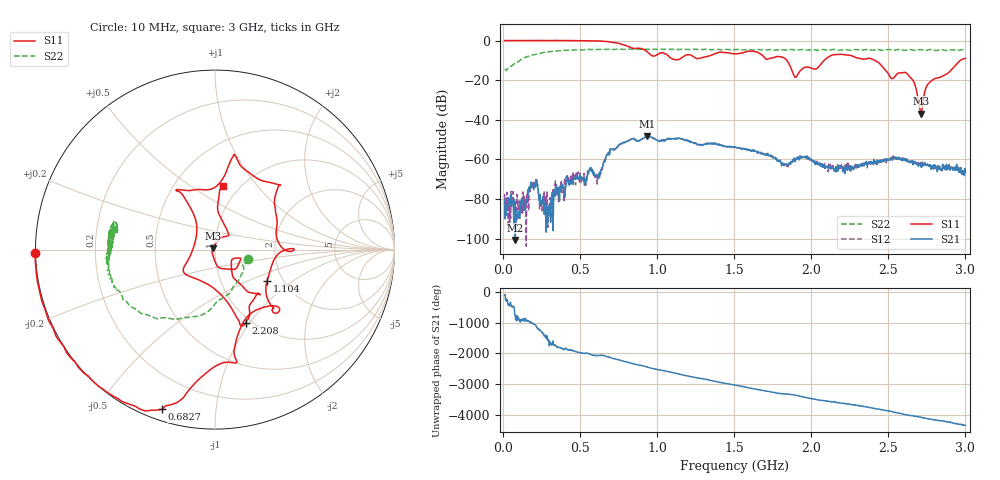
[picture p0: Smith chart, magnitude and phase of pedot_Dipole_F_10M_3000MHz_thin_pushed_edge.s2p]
!  08/05/2026  14:37:27
! Ref Plane: 0.000 mm
# MHZ S MA R  50
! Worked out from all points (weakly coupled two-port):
!   1001 points, 10 MHz to 3 GHz, reference 50 ohm
!   highest |S21| = -48.25 dB at 936.9 MHz (marker M1); lowest = -100.8 dB at 75.78 MHz (marker M2)
!   lowest |S11| = -36.8 dB at 2.713 GHz (marker M3), VSWR 1.03, Z = 48.7 + j0.625 ohm
!   |S11| at or under -10 dB: 1.842 GHz to 2.083 GHz (241.8 MHz wide, 12.3 % of centre); 2.411 GHz to 2.968 GHz (556.8 MHz wide, 20.7 % of centre)
!   |S22| runs from -15.1 to -4.3 dB; largest |S21 - S12| = 0.00029
!   S11 on the Smith chart (normalised r, x): 10 MHz: -0.00, -0.01; 682.8 MHz: 0.05, -0.72; 1.104 GHz: 1.66, -0.66; 2.208 GHz: 0.94, -0.96; 3 GHz: 0.84, +0.68
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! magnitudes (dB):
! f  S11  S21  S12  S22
! 10 MHz  0.0  -80.4  -77.4  -14.5
! 75.78 MHz  0.0  -100.8  -86.5  -11.6
! 204.3 MHz  0.0  -72.9  -73.2  -7.0
! 243.2 MHz  0.0  -81.5  -83.5  -6.4
! 303 MHz  0.0  -83.4  -88.5  -5.6
! 509.3 MHz  0.0  -69.1  -69.3  -4.8
! 617 MHz  -0.2  -69.0  -66.7  -4.4
! 682.8 MHz  -0.6  -56.7  -56.8  -4.4
! 936.9 MHz  -5.7  -48.2  -48.4  -4.4
! 1.009 GHz  -6.7  -50.6  -50.4  -4.5
! 1.104 GHz  -9.4  -49.6  -49.4  -4.3
! 1.505 GHz  -6.7  -53.7  -53.8  -4.6
! 1.813 GHz  -8.4  -62.8  -61.7  -4.6
! 1.897 GHz  -18.6  -61.2  -60.4  -4.8
! 2.004 GHz  -14.0  -60.7  -60.8  -4.5
! 2.208 GHz  -7.1  -64.9  -64.8  -4.6
! 2.399 GHz  -9.5  -62.1  -60.8  -4.8
! 2.504 GHz  -17.4  -60.5  -60.5  -4.5
! 2.629 GHz  -17.4  -60.9  -60.7  -4.5
! 2.713 GHz  -36.8  -62.3  -61.9  -4.6
! 2.764 GHz  -21.4  -63.6  -63.6  -4.6
! 3 GHz  -9.0  -66.5  -64.7  -4.8
